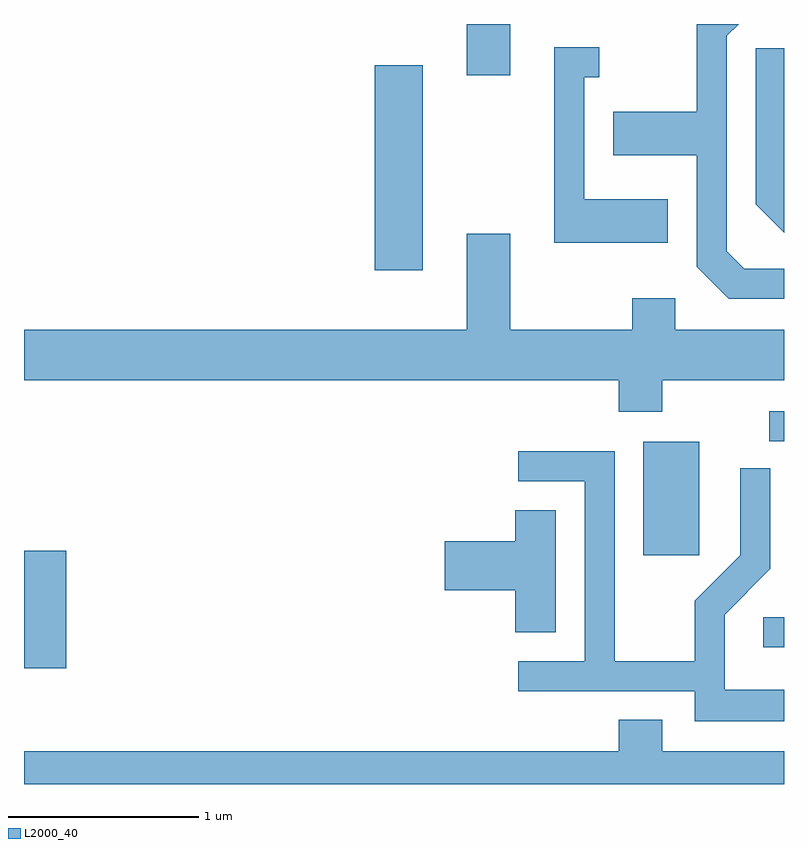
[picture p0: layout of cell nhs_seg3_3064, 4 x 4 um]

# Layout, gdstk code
import gdstk
lib = gdstk.Library(unit=1e-6, precision=1e-09)
def R(c, l, rs):  # rectangles x0, y0, x1, y1
    for r in rs: c.add(gdstk.rectangle(r[:2], r[2:], *l))
def P(c, l, *ps):  # polygons
    for p in ps: c.add(gdstk.Polygon(p, *l))
L2000_40 = (2000, 40)

nhs_seg3_3064 = lib.new_cell('nhs_seg3_3064')
R(nhs_seg3_3064, L2000_40, [(275.611,1124.501,275.834,1125.119), (279.503,1124.611,279.611,1124.769), (278.871,1125.096,279.164,1125.694), (279.533,1125.696,279.611,1125.854), (277.456,1126.596,277.709,1127.674), (277.941,1127.621,278.169,1127.892)])
P(nhs_seg3_3064, L2000_40, [(279.611,1126.604),(279.402,1126.604),(279.309,1126.697),(279.309,1127.829),(279.373,1127.892),(279.151,1127.892),(279.151,1127.429),(278.711,1127.429),(278.711,1127.201),(279.151,1127.201),(279.151,1126.614),(279.319,1126.446),(279.611,1126.446)],
  [(278.999,1126.969),(278.559,1126.969),(278.559,1127.611),(278.638,1127.611),(278.638,1127.769),(278.401,1127.769),(278.401,1126.741),(278.999,1126.741)],
  [(279.611,1127.764),(279.461,1127.764),(279.461,1126.944),(279.611,1126.794)],
  [(278.169,1126.789),(277.941,1126.789),(277.941,1126.284),(275.611,1126.284),(275.611,1126.016),(278.741,1126.016),(278.741,1125.851),(278.969,1125.851),(278.969,1126.016),(279.611,1126.016),(279.611,1126.284),(279.039,1126.284),(279.039,1126.449),(278.811,1126.449),(278.811,1126.284),(278.169,1126.284)],
  [(279.611,1124.389),(279.299,1124.389),(279.299,1124.784),(279.539,1125.024),(279.539,1125.553),(279.381,1125.553),(279.381,1125.097),(279.141,1124.857),(279.141,1124.539),(278.719,1124.539),(278.719,1125.644),(278.213,1125.644),(278.213,1125.486),(278.561,1125.486),(278.561,1124.539),(278.213,1124.539),(278.213,1124.381),(279.141,1124.381),(279.141,1124.221),(279.611,1124.221)],
  [(278.409,1125.334),(278.196,1125.334),(278.196,1125.169),(277.826,1125.169),(277.826,1124.911),(278.196,1124.911),(278.196,1124.691),(278.409,1124.691)],
  [(279.611,1124.064),(278.969,1124.064),(278.969,1124.229),(278.741,1124.229),(278.741,1124.064),(275.611,1124.064),(275.611,1123.892),(279.611,1123.892)])

lib.write_gds('nhs_seg3_3064.gds')
